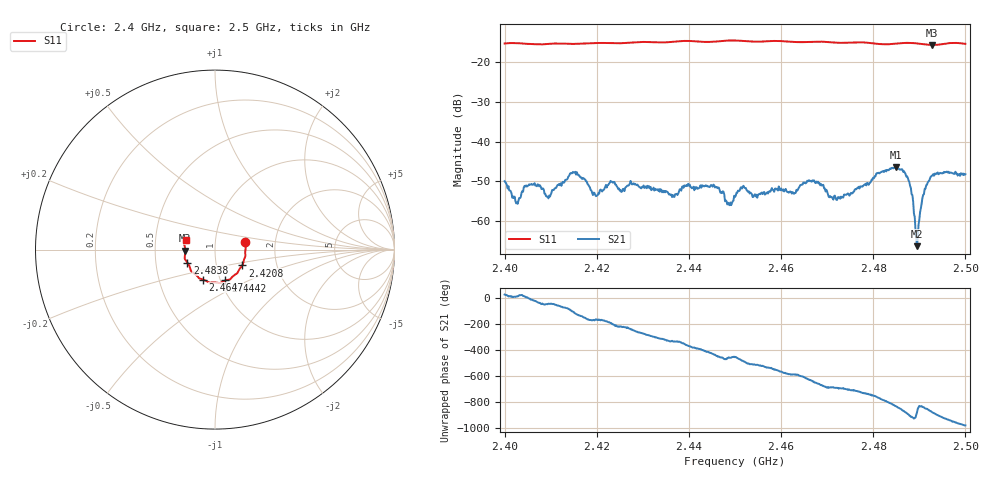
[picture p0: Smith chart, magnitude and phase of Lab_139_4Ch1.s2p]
# Hz S RI R 50
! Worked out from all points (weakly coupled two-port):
!   601 points, 2.4 GHz to 2.5 GHz, reference 50 ohm
!   highest |S21| = -46.51 dB at 2.485 GHz (marker M1); lowest = -66.4 dB at 2.4895 GHz (marker M2)
!   lowest |S11| = -15.6 dB at 2.4928 GHz (marker M3), VSWR 1.40, Z = 35.8 - j0.398 ohm
!   |S11| at or under -10 dB: start of sweep to end of sweep
!   S12 and S22 are empty: the file has one direction only
!   S11 on the Smith chart (normalised r, x): 2.4 GHz: 1.40, +0.12; 2.4208 GHz: 1.33, -0.24; 2.4442 GHz: 1.05, -0.37; 2.4647 GHz: 0.83, -0.29; 2.4838 GHz: 0.73, -0.11; 2.5 GHz: 0.72, +0.08
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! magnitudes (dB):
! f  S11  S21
! 2.4 GHz  -15.2  -50.0
! 2.4028 GHz  -15.2  -55.7
! 2.4048 GHz  -15.3  -51.4
! 2.4095 GHz  -15.3  -54.3
! 2.4147 GHz  -15.4  -48.0
! 2.4167 GHz  -15.3  -49.1
! 2.4208 GHz  -15.1  -52.1
! 2.4333 GHz  -15.0  -52.4
! 2.4442 GHz  -14.9  -51.4
! 2.4487 GHz  -14.5  -55.9
! 2.45 GHz  -14.5  -54.0
! 2.4647 GHz  -14.9  -50.9
! 2.4667 GHz  -14.8  -50.1
! 2.4723 GHz  -15.1  -54.1
! 2.4833 GHz  -15.4  -47.3
! 2.4838 GHz  -15.4  -46.9
! 2.485 GHz  -15.3  -46.5
! 2.4877 GHz  -15.1  -49.8
! 2.4895 GHz  -15.2  -66.4
! 2.491 GHz  -15.4  -53.3
! 2.4928 GHz  -15.6  -48.6
! 2.5 GHz  -15.3  -48.3
